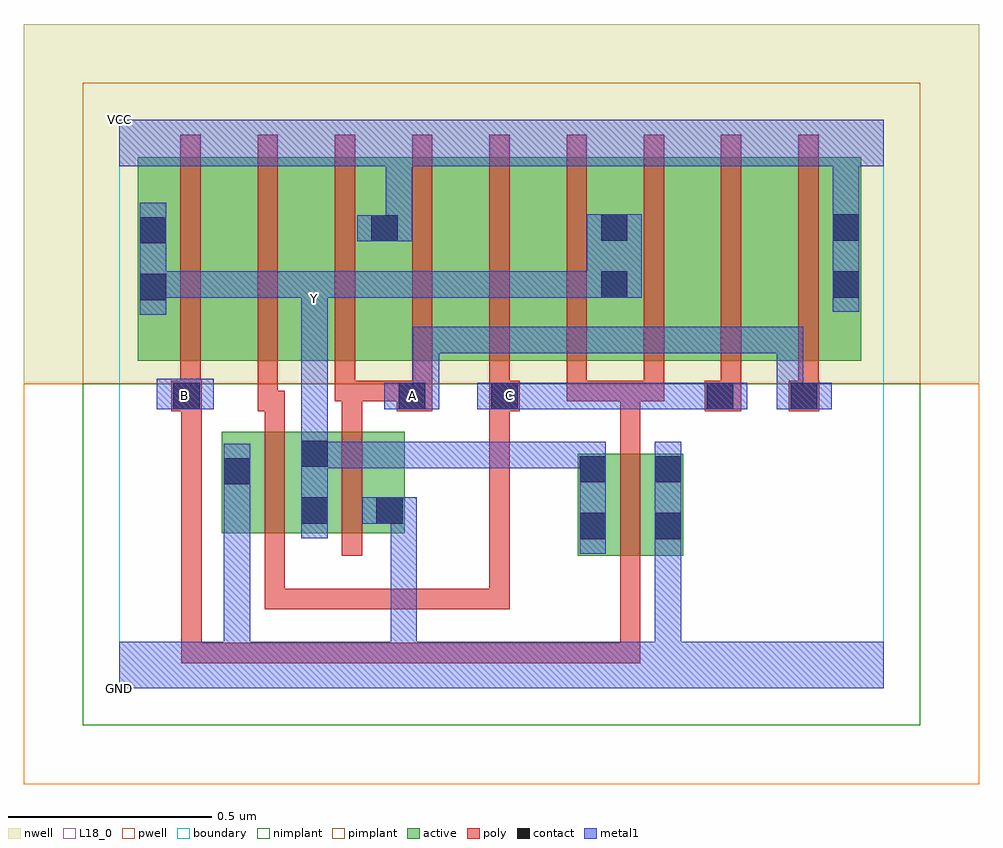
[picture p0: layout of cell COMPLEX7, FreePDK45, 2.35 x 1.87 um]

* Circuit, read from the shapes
.subckt COMPLEX7 A B C GND VCC Y
M1 Y C GND VSUBS nfet w=0.25u l=0.05u
M2 GND A Y VSUBS nfet w=0.25u l=0.05u
M3 GND B Y VSUBS nfet w=0.25u l=0.05u
M4 n1 B Y n2 pfet w=0.5u l=0.05u
M5 n3 C n1 n2 pfet w=0.5u l=0.05u
M6 VCC A n3 n2 pfet w=0.5u l=0.05u
M7 n4 A VCC n2 pfet w=0.5u l=0.05u
M8 n5 C n4 n2 pfet w=0.5u l=0.05u
M9 Y B n5 n2 pfet w=0.5u l=0.05u
M10 n6 B Y n2 pfet w=0.5u l=0.05u
M11 n7 C n6 n2 pfet w=0.5u l=0.05u
M12 VCC A n7 n2 pfet w=0.5u l=0.05u
.ends

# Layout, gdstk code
import gdstk
lib = gdstk.Library(unit=1e-6, precision=1e-09)
def R(c, l, rs):  # rectangles x0, y0, x1, y1
    for r in rs: c.add(gdstk.rectangle(r[:2], r[2:], *l))
def A(c, l, x, y, w, h, nx, ny, dx, dy):  # array of equal rectangles
    R(c, l, [(x+i*dx, y+j*dy, x+i*dx+w, y+j*dy+h) for i in range(nx) for j in range(ny)])
active = (1, 0)
pwell = (2, 0)
nwell = (3, 0)
nimplant = (4, 0)
pimplant = (5, 0)
poly = (9, 0)
contact = (10, 0)
metal1 = (11, 0)
L18_0 = (18, 0)
boundary = (235, 0)

complex7 = lib.new_cell('COMPLEX7')
A(complex7, active, 0.27, 0.807, 0.19, 0.5, 3, 1, 0.57, 0)
R(complex7, active, [(1.127,0.327,1.387,0.577), (1.127,0.362,1.202,0.577), (1.312,0.362,1.387,0.577), (0.252,0.382,0.517,0.632), (0.252,0.382,0.327,0.632), (0.442,0.382,0.702,0.632), (0.442,0.382,0.517,0.615), (0.627,0.4,0.702,0.632), (0.045,0.807,0.27,1.307), (0.045,0.807,0.15,1.2), (0.46,0.807,0.69,1.307), (0.615,0.807,0.69,1.305), (0.615,0.807,0.84,1.307), (1.03,0.807,1.255,1.307), (1.18,0.807,1.41,1.307), (1.18,0.807,1.255,1.2), (1.6,0.807,1.825,1.307), (1.75,0.807,1.825,1.305)])
R(complex7, pwell, [(-0.235,-0.235,2.115,0.75)])
R(complex7, nwell, [(-0.235,0.75,2.115,1.635)])
R(complex7, nimplant, [(-0.09,-0.09,1.97,0.75)])
R(complex7, pimplant, [(-0.09,0.75,1.97,1.49)])
A(complex7, poly, 0.53, 0.707, 0.05, 0.095, 7, 1, 0.19, 0)
A(complex7, poly, 0.15, 0.752, 0.05, 0.61, 9, 1, 0.19, 0)
R(complex7, poly, [(0.152,0.062,0.202,0.112), (0.152,0.062,0.202,0.112), (0.152,0.062,0.202,0.112), (0.152,0.062,0.202,0.112), (0.152,0.062,0.202,0.112), (0.152,0.062,0.447,0.112), (0.152,0.062,0.202,0.732), (0.397,0.062,0.447,0.112), (0.397,0.062,0.447,0.112), (0.397,0.062,0.447,0.112), (0.397,0.062,0.597,0.112), (0.547,0.062,0.597,0.112), (0.547,0.062,0.597,0.112), (0.547,0.062,0.597,0.112), (0.547,0.062,0.73,0.112), (0.68,0.062,0.73,0.112), (0.68,0.062,0.73,0.112), (0.68,0.062,0.73,0.112), (0.68,0.062,1.017,0.112), (0.967,0.062,1.017,0.112), (0.967,0.062,1.017,0.112), (0.967,0.062,1.017,0.112), (0.967,0.062,1.017,0.112), (0.967,0.062,1.017,0.112), (0.967,0.062,1.15,0.112), (1.1,0.062,1.15,0.112), (1.1,0.062,1.282,0.112), (1.232,0.062,1.282,0.112), (1.232,0.062,1.282,0.112), (1.232,0.062,1.282,0.112), (1.232,0.062,1.282,0.322), (0.357,0.195,0.407,0.245), (0.357,0.195,0.407,0.245), (0.357,0.195,0.407,0.245), (0.357,0.195,0.597,0.245), (0.357,0.195,0.407,0.377), (0.547,0.195,0.597,0.245), (0.547,0.195,0.597,0.245), (0.547,0.195,0.597,0.245), (0.547,0.195,0.802,0.245), (0.752,0.195,0.802,0.245), (0.752,0.195,0.802,0.245), (0.752,0.195,0.802,0.245), (0.752,0.195,0.802,0.245), (0.752,0.195,0.802,0.245), (0.752,0.195,0.96,0.245), (0.91,0.195,0.96,0.245), (0.91,0.195,0.96,0.732), (1.232,0.272,1.282,0.632), (0.357,0.327,0.407,0.687), (0.547,0.327,0.597,0.687), (1.232,0.582,1.282,0.757), (0.357,0.637,0.407,0.732), (0.547,0.637,0.597,0.757), (0.127,0.682,0.202,0.757), (0.152,0.682,0.202,0.732), (0.152,0.682,0.202,0.732), (0.152,0.682,0.202,0.732), (0.152,0.682,0.202,0.732), (0.34,0.682,0.39,0.802), (0.34,0.682,0.407,0.732), (0.682,0.682,0.77,0.757), (0.91,0.682,0.985,0.757), (0.91,0.682,0.96,0.732), (0.91,0.682,0.96,0.732), (1.44,0.682,1.53,0.757), (1.647,0.682,1.722,0.757), (0.15,0.707,0.2,0.802), (0.53,0.707,0.597,0.757), (0.547,0.707,0.597,0.757), (0.547,0.707,0.597,0.757), (0.547,0.707,0.732,0.757), (1.1,0.707,1.15,0.757), (1.1,0.707,1.282,0.757), (1.232,0.707,1.282,0.757), (1.232,0.707,1.282,0.757), (1.232,0.707,1.34,0.757)])
R(complex7, contact, [(1.132,0.367,1.197,0.432), (1.317,0.367,1.382,0.432), (0.447,0.405,0.512,0.47), (0.632,0.405,0.697,0.47), (0.257,0.502,0.322,0.567), (1.132,0.507,1.197,0.572), (1.317,0.507,1.382,0.572), (0.447,0.545,0.512,0.61), (0.132,0.687,0.197,0.752), (0.687,0.687,0.752,0.752), (0.915,0.687,0.98,0.752), (1.445,0.687,1.51,0.752), (1.652,0.687,1.717,0.752), (0.05,0.955,0.115,1.02), (1.185,0.962,1.25,1.027), (1.755,0.962,1.82,1.027), (0.05,1.095,0.115,1.16), (0.62,1.1,0.685,1.165), (1.185,1.102,1.25,1.167), (1.755,1.102,1.82,1.167)])
R(complex7, metal1, [(0,0,1.88,0.115), (0.257,0.05,0.322,0.115), (0.257,0.05,0.322,0.115), (0.257,0.05,0.322,0.115), (0.257,0.05,0.322,0.115), (0.257,0.05,0.322,0.532), (0.667,0.05,0.732,0.115), (0.667,0.05,0.732,0.115), (0.667,0.05,0.732,0.115), (0.667,0.05,0.732,0.115), (0.667,0.05,0.732,0.435), (1.317,0.05,1.382,0.115), (1.317,0.05,1.382,0.115), (1.317,0.05,1.382,0.115), (1.317,0.05,1.382,0.115), (1.317,0.05,1.382,0.115), (1.317,0.05,1.382,0.115), (1.317,0.05,1.382,0.397), (1.132,0.332,1.197,0.607), (1.317,0.332,1.382,0.607), (0.447,0.37,0.512,0.645), (0.667,0.37,0.732,0.435), (0.667,0.37,0.732,0.47), (0.597,0.405,0.732,0.47), (0.257,0.467,0.322,0.532), (0.257,0.467,0.322,0.532), (0.257,0.467,0.322,0.602), (0.447,0.542,0.512,0.607), (0.447,0.542,0.512,0.607), (0.447,0.542,0.65,0.607), (0.585,0.542,0.65,0.607), (0.585,0.542,0.65,0.607), (0.585,0.542,0.65,0.607), (0.585,0.542,0.832,0.607), (0.767,0.542,0.832,0.607), (0.767,0.542,0.97,0.607), (0.905,0.542,0.97,0.607), (0.905,0.542,0.97,0.607), (0.905,0.542,0.97,0.607), (0.905,0.542,1.197,0.607), (1.132,0.542,1.197,0.607), (1.132,0.542,1.197,0.607), (0.447,0.58,0.512,0.957), (0.092,0.687,0.232,0.762), (0.652,0.687,0.787,0.752), (0.722,0.687,0.787,0.752), (0.722,0.687,0.787,0.752), (0.722,0.687,0.787,0.89), (0.88,0.687,1.027,0.752), (0.962,0.687,1.027,0.752), (0.962,0.687,1.027,0.752), (0.962,0.687,1.165,0.752), (1.1,0.687,1.165,0.752), (1.1,0.687,1.165,0.752), (1.1,0.687,1.165,0.752), (1.1,0.687,1.337,0.752), (1.272,0.687,1.337,0.752), (1.272,0.687,1.475,0.752), (1.41,0.687,1.475,0.752), (1.41,0.687,1.475,0.752), (1.41,0.687,1.545,0.752), (1.617,0.687,1.682,0.752), (1.617,0.687,1.682,0.752), (1.617,0.687,1.752,0.752), (1.617,0.687,1.682,0.89), (0.722,0.825,0.787,0.89), (0.722,0.825,1.015,0.89), (0.95,0.825,1.015,0.89), (0.95,0.825,1.015,0.89), (0.95,0.825,1.015,0.89), (0.95,0.825,1.165,0.89), (1.1,0.825,1.165,0.89), (1.1,0.825,1.165,0.89), (1.1,0.825,1.165,0.89), (1.1,0.825,1.337,0.89), (1.272,0.825,1.337,0.89), (1.272,0.825,1.475,0.89), (1.41,0.825,1.475,0.89), (1.41,0.825,1.475,0.89), (1.41,0.825,1.475,0.89), (1.41,0.825,1.682,0.89), (1.617,0.825,1.682,0.89), (0.447,0.892,0.512,1.027), (0.05,0.92,0.115,1.195), (1.755,0.927,1.82,1.202), (0.05,0.962,0.115,1.027), (0.05,0.962,0.115,1.027), (0.05,0.962,0.375,1.027), (0.31,0.962,0.375,1.027), (0.31,0.962,0.375,1.027), (0.31,0.962,0.375,1.027), (0.31,0.962,0.512,1.027), (0.447,0.962,0.512,1.027), (0.447,0.962,0.512,1.027), (0.447,0.962,0.512,1.027), (0.447,0.962,0.512,1.027), (0.447,0.962,0.65,1.027), (0.585,0.962,0.65,1.027), (0.585,0.962,0.65,1.027), (0.585,0.962,0.65,1.027), (0.585,0.962,0.787,1.027), (0.722,0.962,0.787,1.027), (0.722,0.962,0.787,1.027), (0.722,0.962,0.787,1.027), (0.722,0.962,0.97,1.027), (0.905,0.962,0.97,1.027), (0.905,0.962,0.97,1.027), (0.905,0.962,0.97,1.027), (0.905,0.962,1.2,1.027), (1.135,0.962,1.2,1.027), (1.135,0.962,1.215,1.027), (1.15,0.962,1.285,1.167), (0.585,1.1,0.72,1.165), (0.655,1.1,0.72,1.35), (1.755,1.137,1.82,1.35), (0,1.285,1.88,1.4)])
R(complex7, L18_0, [(0,0,1.88,0.115), (0.257,0.05,0.322,0.115), (0.257,0.05,0.322,0.115), (0.257,0.05,0.322,0.115), (0.257,0.05,0.322,0.115), (0.257,0.05,0.322,0.532), (0.667,0.05,0.732,0.115), (0.667,0.05,0.732,0.115), (0.667,0.05,0.732,0.115), (0.667,0.05,0.732,0.115), (0.667,0.05,0.732,0.435), (1.317,0.05,1.382,0.115), (1.317,0.05,1.382,0.115), (1.317,0.05,1.382,0.115), (1.317,0.05,1.382,0.115), (1.317,0.05,1.382,0.115), (1.317,0.05,1.382,0.115), (1.317,0.05,1.382,0.397), (1.132,0.332,1.197,0.607), (1.317,0.332,1.382,0.607), (0.447,0.37,0.512,0.645), (0.667,0.37,0.732,0.435), (0.667,0.37,0.732,0.47), (0.597,0.405,0.732,0.47), (0.257,0.467,0.322,0.532), (0.257,0.467,0.322,0.532), (0.257,0.467,0.322,0.602), (0.447,0.542,0.512,0.607), (0.447,0.542,0.512,0.607), (0.447,0.542,0.65,0.607), (0.585,0.542,0.65,0.607), (0.585,0.542,0.65,0.607), (0.585,0.542,0.65,0.607), (0.585,0.542,0.832,0.607), (0.767,0.542,0.832,0.607), (0.767,0.542,0.97,0.607), (0.905,0.542,0.97,0.607), (0.905,0.542,0.97,0.607), (0.905,0.542,0.97,0.607), (0.905,0.542,1.197,0.607), (1.132,0.542,1.197,0.607), (1.132,0.542,1.197,0.607), (0.447,0.58,0.512,0.957), (0.092,0.687,0.232,0.762), (0.127,0.687,0.192,0.752), (0.652,0.687,0.787,0.752), (0.687,0.687,0.752,0.752), (0.722,0.687,0.787,0.752), (0.722,0.687,0.787,0.752), (0.722,0.687,0.787,0.89), (0.88,0.687,1.027,0.752), (0.927,0.687,0.992,0.752), (0.962,0.687,1.027,0.752), (0.962,0.687,1.027,0.752), (0.962,0.687,1.165,0.752), (1.1,0.687,1.165,0.752), (1.1,0.687,1.165,0.752), (1.1,0.687,1.165,0.752), (1.1,0.687,1.337,0.752), (1.272,0.687,1.337,0.752), (1.272,0.687,1.475,0.752), (1.41,0.687,1.475,0.752), (1.41,0.687,1.475,0.752), (1.41,0.687,1.545,0.752), (1.617,0.687,1.682,0.752), (1.617,0.687,1.682,0.752), (1.617,0.687,1.752,0.752), (1.617,0.687,1.682,0.89), (0.722,0.825,0.787,0.89), (0.722,0.825,1.015,0.89), (0.95,0.825,1.015,0.89), (0.95,0.825,1.015,0.89), (0.95,0.825,1.015,0.89), (0.95,0.825,1.165,0.89), (1.1,0.825,1.165,0.89), (1.1,0.825,1.165,0.89), (1.1,0.825,1.165,0.89), (1.1,0.825,1.337,0.89), (1.272,0.825,1.337,0.89), (1.272,0.825,1.475,0.89), (1.41,0.825,1.475,0.89), (1.41,0.825,1.475,0.89), (1.41,0.825,1.475,0.89), (1.41,0.825,1.682,0.89), (1.617,0.825,1.682,0.89), (0.447,0.892,0.512,1.027), (0.05,0.92,0.115,1.195), (0.447,0.927,0.512,0.992), (1.755,0.927,1.82,1.202), (0.05,0.962,0.115,1.027), (0.05,0.962,0.115,1.027), (0.05,0.962,0.375,1.027), (0.31,0.962,0.375,1.027), (0.31,0.962,0.375,1.027), (0.31,0.962,0.375,1.027), (0.31,0.962,0.512,1.027), (0.447,0.962,0.512,1.027), (0.447,0.962,0.512,1.027), (0.447,0.962,0.512,1.027), (0.447,0.962,0.512,1.027), (0.447,0.962,0.65,1.027), (0.585,0.962,0.65,1.027), (0.585,0.962,0.65,1.027), (0.585,0.962,0.65,1.027), (0.585,0.962,0.787,1.027), (0.722,0.962,0.787,1.027), (0.722,0.962,0.787,1.027), (0.722,0.962,0.787,1.027), (0.722,0.962,0.97,1.027), (0.905,0.962,0.97,1.027), (0.905,0.962,0.97,1.027), (0.905,0.962,0.97,1.027), (0.905,0.962,1.2,1.027), (1.135,0.962,1.2,1.027), (1.135,0.962,1.215,1.027), (1.15,0.962,1.285,1.167), (0.585,1.1,0.72,1.165), (0.655,1.1,0.72,1.35), (1.755,1.137,1.82,1.35), (0,1.285,1.88,1.4)])
R(complex7, boundary, [(0,0,1.88,1.4)])
complex7.add(gdstk.Label('A', (0.72,0.72), layer=11, texttype=0))
complex7.add(gdstk.Label('B', (0.16,0.72), layer=11, texttype=0))
complex7.add(gdstk.Label('C', (0.96,0.72), layer=11, texttype=0))
complex7.add(gdstk.Label('Y', (0.48,0.96), layer=11, texttype=0))
complex7.add(gdstk.Label('VCC', (0,1.4), layer=11, texttype=0))
complex7.add(gdstk.Label('GND', (0,0), layer=11, texttype=0))

lib.write_gds('COMPLEX7.gds')
